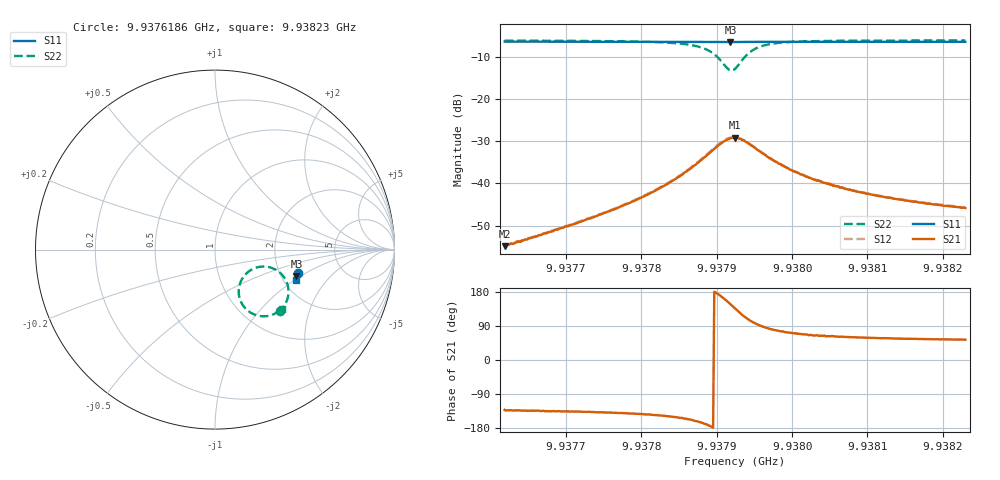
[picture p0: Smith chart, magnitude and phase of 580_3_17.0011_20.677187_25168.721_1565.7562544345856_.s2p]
#  HZ  S  RI  R  50.00
! Rohde & Schwarz Vector Network Analyzer
! Rohde-Schwarz,ZNB20-2Port,1311601062101988,3.16
! Created: UTC 3/20/2024, 11:18:06 PM
! freq[Hz]  re:S11  im:S11  re:S21  im:S21  re:S12  im:S12  re:S22  im:S22
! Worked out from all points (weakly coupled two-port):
!   401 points, 9.9376186 GHz to 9.93823 GHz, reference 50 ohm
!   highest |S21| = -29.17 dB at 9.9379243 GHz (marker M1); lowest = -54.9 dB at 9.9376186 GHz (marker M2)
!   lowest |S11| = -6.4 dB at 9.9379182 GHz (marker M3), VSWR 2.82, Z = 121 - j46 ohm
!   |S11| at or under -10 dB: nowhere
!   |S22| runs from -13.2 to -6.1 dB; largest |S21 - S12| = 0.0018
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9.93761863e9  0.4646 -0.1293  -0.00119 -0.00135  -0.00129 -0.00132  0.3605 -0.3399
9.93766754e9  0.4635 -0.1326  -0.00173 -0.00175  -0.00178 -0.00173  0.3535 -0.3449
9.93772104e9  0.4621 -0.1362  -0.00258 -0.00246  -0.0027 -0.00243  0.3431 -0.3514
9.9377837e9  0.4605 -0.1405  -0.00452 -0.00366  -0.00469 -0.00368  0.3227 -0.3615
9.93782344e9  0.4592 -0.1432  -0.00722 -0.00484  -0.00745 -0.0048  0.2978 -0.3691
9.93785248e9  0.4577 -0.1454  -0.0111 -0.00571  -0.0114 -0.00563  0.2644 -0.3714
9.93788305e9  0.4563 -0.1474  -0.0198 -0.00424  -0.0203 -0.00411  0.1957 -0.3496
9.93789528e9  0.4551 -0.1479  -0.025 -0.00057  -0.0257 -0.000218  0.1572 -0.3126
9.93790598e9  0.4541 -0.1478  -0.0293 0.00624  -0.0299 0.00737  0.133 -0.2502
9.93791362e9  0.4538 -0.1474  -0.0301 0.0136  -0.0304 0.0149  0.1391 -0.1897
9.93791821e9  0.4536 -0.1472  -0.0288 0.0186  -0.0287 0.02  0.1572 -0.1533
9.93792432e9  0.4537 -0.1468  -0.0251 0.0241  -0.0245 0.0255  0.1975 -0.1153
9.93793196e9  0.4544 -0.1467  -0.0178 0.0285  -0.017 0.0295  0.2603 -0.0946
9.93794266e9  0.4552 -0.147  -0.00827 0.0285  -0.00743 0.0291  0.335 -0.1101
9.93795794e9  0.4559 -0.1484  -0.000117 0.0238  0.00032 0.024  0.3893 -0.1607
9.9379717e9  0.456 -0.1498  0.003 0.0196  0.00333 0.0195  0.4055 -0.1998
9.93799157e9  0.4558 -0.1515  0.00448 0.015  0.00473 0.0149  0.4095 -0.2381
9.93802672e9  0.4551 -0.1543  0.00475 0.0103  0.00486 0.0104  0.4033 -0.2753
9.93807869e9  0.4536 -0.158  0.00412 0.00723  0.00429 0.00719  0.3921 -0.3015
9.93812913e9  0.4524 -0.1614  0.00367 0.0057  0.00381 0.00567  0.3833 -0.3155
9.93817957e9  0.4508 -0.1647  0.00329 0.00473  0.00344 0.00475  0.3768 -0.3245
9.93823e9  0.4495 -0.168  0.00302 0.00412  0.00316 0.00414  0.371 -0.3313
